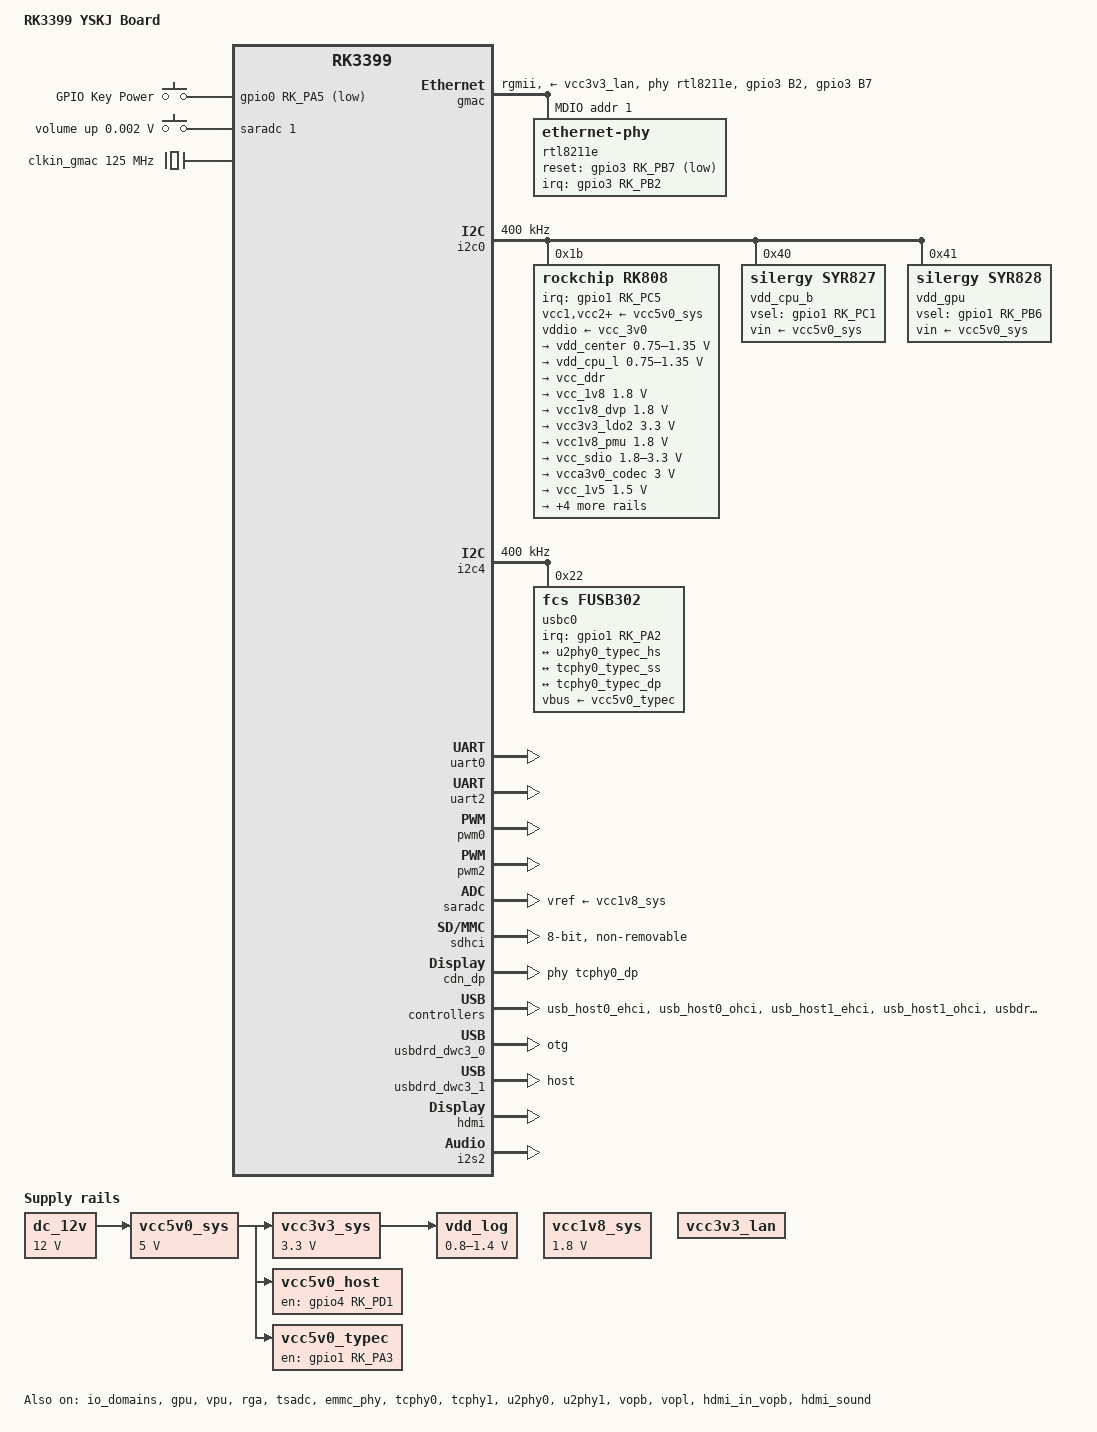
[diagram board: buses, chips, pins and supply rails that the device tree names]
// SPDX-License-Identifier: (GPL-2.0+ OR MIT)
/*
 * Copyright (C) 2025 kaixinos <kaixinos@outlook.com>
 */

/dts-v1/;
#include <dt-bindings/input/linux-event-codes.h>
#include <dt-bindings/leds/common.h>
#include <dt-bindings/pwm/pwm.h>
#include <dt-bindings/usb/pd.h>
#include "rk3399.dtsi"

/ {
	model = "RK3399 YSKJ Board";
	compatible = "rk3399,yskj", "rockchip,rk3399";

	aliases {
		ethernet0 = &gmac;
		mmc0 = &sdio0;
		mmc1 = &sdmmc;
		mmc2 = &sdhci;
	};

	chosen {
		stdout-path = "serial2:1500000n8";
	};

	dc_12v: dc-12v {
		compatible = "regulator-fixed";
		regulator-name = "dc_12v";
		regulator-always-on;
		regulator-boot-on;
		regulator-min-microvolt = <12000000>;
		regulator-max-microvolt = <12000000>;
	};

	vcc5v0_sys: vcc5v0-sys {
		compatible = "regulator-fixed";
		regulator-name = "vcc5v0_sys";
		regulator-always-on;
		regulator-boot-on;
		regulator-min-microvolt = <5000000>;
		regulator-max-microvolt = <5000000>;
		vin-supply = <&dc_12v>;
	};

	vcc3v3_sys: vcc3v3-sys {
		compatible = "regulator-fixed";
		regulator-name = "vcc3v3_sys";
		regulator-always-on;
		regulator-boot-on;
		regulator-min-microvolt = <3300000>;
		regulator-max-microvolt = <3300000>;
		vin-supply = <&vcc5v0_sys>;
	};

	vcc1v8_sys: vcc1v8-sys {
		compatible = "regulator-fixed";
		regulator-name = "vcc1v8_sys";
		regulator-always-on;
		regulator-boot-on;
		regulator-min-microvolt = <1800000>;
		regulator-max-microvolt = <1800000>;
	};

	vcc5v0_host: vcc5v0-host {
		compatible = "regulator-fixed";
		regulator-name = "vcc5v0_host";
		enable-active-high;
		gpio = <&gpio4 RK_PD1 GPIO_ACTIVE_HIGH>;
		pinctrl-names = "default";
		pinctrl-0 = <&vcc5v0_host_en>;
		regulator-always-on;
		vin-supply = <&vcc5v0_sys>;
	};

	vcc5v0_typec: vcc5v0-typec {
		compatible = "regulator-fixed";
		regulator-name = "vcc5v0_typec";
		enable-active-high;
		gpio = <&gpio1 RK_PA3 GPIO_ACTIVE_HIGH>;
		pinctrl-names = "default";
		pinctrl-0 = <&vcc5v0_typec_en>;
		vin-supply = <&vcc5v0_sys>;
	};

	vdd_log: vdd-log {
		compatible = "pwm-regulator";
		pwms = <&pwm2 0 25000 1>;
		regulator-name = "vdd_log";
		regulator-always-on;
		regulator-boot-on;
		regulator-min-microvolt = <800000>;
		regulator-max-microvolt = <1400000>;
		vin-supply = <&vcc3v3_sys>;
	};

	vcc3v3_lan: vcc3v3-lan {
		compatible = "regulator-fixed";
		regulator-name = "vcc3v3_lan";
		regulator-always-on;
		regulator-boot-on;
	};

	gpio-keys {
		compatible = "gpio-keys";
		autorepeat;
		pinctrl-names = "default";
		pinctrl-0 = <&power_key>;

		key-power {
			gpios = <&gpio0 RK_PA5 GPIO_ACTIVE_LOW>;
			label = "GPIO Key Power";
			linux,code = <KEY_POWER>;
			debounce-interval = <100>;
			wakeup-source;
		};
	};

	adc-keys {
		compatible = "adc-keys";
		io-channels = <&saradc 1>;
		io-channel-names = "buttons";
		keyup-threshold-microvolt = <1800000>;
		poll-interval = <100>;

		vol-up-key {
			label = "volume up";
			linux,code = <KEY_VOLUMEUP>;
			press-threshold-microvolt = <1750>;
		};
	};

	clkin_gmac: external-gmac-clock {
		compatible = "fixed-clock";
		clock-frequency = <125000000>;
		clock-output-names = "clkin_gmac";
		#clock-cells = <0>;
	};
};

&io_domains {
	status = "okay";

	bt656-supply = <&vcc1v8_dvp>;		/* APIO2_VDD */
	audio-supply = <&vcca1v8_codec>;	/* APIO5_VDD */
	sdmmc-supply = <&vcc_sdio>;		/* SDMMC0_VDD */
	gpio1830-supply = <&vcc_3v0>;		/* APIO4_VDD */
};

&pmu_io_domains {
	status = "okay";

	pmu1830-supply = <&vcc_3v0>;		/* PMUIO2_VDD */
};

&cpu_l0 {
	cpu-supply = <&vdd_cpu_l>;
};

&cpu_l1 {
	cpu-supply = <&vdd_cpu_l>;
};

&cpu_l2 {
	cpu-supply = <&vdd_cpu_l>;
};

&cpu_l3 {
	cpu-supply = <&vdd_cpu_l>;
};

&cpu_b0 {
	cpu-supply = <&vdd_cpu_b>;
};

&cpu_b1 {
	cpu-supply = <&vdd_cpu_b>;
};

&gpu {
	status = "okay";
	mali-supply = <&vdd_gpu>;
};

&vpu {
	status = "okay";
};

&rga {
	status = "okay";
};

&gmac {
	status = "okay";
	assigned-clock-parents = <&clkin_gmac>;
	assigned-clocks = <&cru SCLK_RMII_SRC>;
	clock_in_out = "input";
	phy-supply = <&vcc3v3_lan>;
	phy-mode = "rgmii";
	pinctrl-names = "default";
	pinctrl-0 = <&rgmii_pins>, <&phy_intb>, <&phy_rstb>;
	phy-handle = <&rtl8211e>;
	tx_delay = <0x35>;
	rx_delay = <0x29>;

	mdio {
		compatible = "snps,dwmac-mdio";
		#address-cells = <1>;
		#size-cells = <0>;

		rtl8211e: ethernet-phy@1 {
			reg = <1>;
			interrupt-parent = <&gpio3>;
			interrupts = <RK_PB2 IRQ_TYPE_LEVEL_LOW>;
			reset-assert-us = <10000>;
			reset-deassert-us = <30000>;
			reset-gpios = <&gpio3 RK_PB7 GPIO_ACTIVE_LOW>;
		};
	};
};

&i2c0 {
	status = "okay";
	clock-frequency = <400000>;
	i2c-scl-rising-time-ns = <168>;
	i2c-scl-falling-time-ns = <4>;

	rk808: pmic@1b {
		compatible = "rockchip,rk808";
		reg = <0x1b>;
		interrupt-parent = <&gpio1>;
		interrupts = <RK_PC5 IRQ_TYPE_LEVEL_LOW>;
		#clock-cells = <1>;
		clock-output-names = "xin32k", "rk808-clkout2";
		pinctrl-names = "default";
		pinctrl-0 = <&pmic_int_l &pmic_dvs2>;
		rockchip,system-power-controller;
		wakeup-source;

		vcc1-supply = <&vcc5v0_sys>;
		vcc2-supply = <&vcc5v0_sys>;
		vcc3-supply = <&vcc5v0_sys>;
		vcc4-supply = <&vcc5v0_sys>;
		vcc6-supply = <&vcc5v0_sys>;
		vcc7-supply = <&vcc5v0_sys>;
		vcc8-supply = <&vcc5v0_sys>;
		vcc9-supply = <&vcc5v0_sys>;
		vcc10-supply = <&vcc5v0_sys>;
		vcc11-supply = <&vcc5v0_sys>;
		vcc12-supply = <&vcc5v0_sys>;
		vddio-supply = <&vcc_3v0>;

		regulators {
			vdd_center: DCDC_REG1 {
				regulator-name = "vdd_center";
				regulator-always-on;
				regulator-boot-on;
				regulator-min-microvolt = <750000>;
				regulator-max-microvolt = <1350000>;
				regulator-ramp-delay = <6001>;

				regulator-state-mem {
					regulator-off-in-suspend;
				};
			};

			vdd_cpu_l: DCDC_REG2 {
				regulator-name = "vdd_cpu_l";
				regulator-always-on;
				regulator-boot-on;
				regulator-min-microvolt = <750000>;
				regulator-max-microvolt = <1350000>;
				regulator-ramp-delay = <6001>;

				regulator-state-mem {
					regulator-off-in-suspend;
				};
			};

			vcc_ddr: DCDC_REG3 {
				regulator-name = "vcc_ddr";
				regulator-always-on;
				regulator-boot-on;

				regulator-state-mem {
					regulator-on-in-suspend;
				};
			};

			vcc_1v8: DCDC_REG4 {
				regulator-name = "vcc_1v8";
				regulator-always-on;
				regulator-boot-on;
				regulator-min-microvolt = <1800000>;
				regulator-max-microvolt = <1800000>;

				regulator-state-mem {
					regulator-on-in-suspend;
					regulator-suspend-microvolt = <1800000>;
				};
			};

			vcc1v8_dvp: LDO_REG1 {
				regulator-name = "vcc1v8_dvp";
				regulator-always-on;
				regulator-boot-on;
				regulator-min-microvolt = <1800000>;
				regulator-max-microvolt = <1800000>;

				regulator-state-mem {
					regulator-off-in-suspend;
				};
			};

			vcc3v3_ldo2: LDO_REG2 {
				regulator-name = "vcc3v3_ldo2";
				regulator-always-on;
				regulator-boot-on;
				regulator-min-microvolt = <3300000>;
				regulator-max-microvolt = <3300000>;

				regulator-state-mem {
					regulator-off-in-suspend;
				};
			};

			vcc1v8_pmu: LDO_REG3 {
				regulator-name = "vcc1v8_pmu";
				regulator-always-on;
				regulator-boot-on;
				regulator-min-microvolt = <1800000>;
				regulator-max-microvolt = <1800000>;

				regulator-state-mem {
					regulator-on-in-suspend;
					regulator-suspend-microvolt = <1800000>;
				};
			};

			vcc_sdio: LDO_REG4 {
				regulator-name = "vcc_sdio";
				regulator-always-on;
				regulator-boot-on;
				regulator-min-microvolt = <1800000>;
				regulator-max-microvolt = <3300000>;

				regulator-state-mem {
					regulator-on-in-suspend;
					regulator-suspend-microvolt = <3000000>;
				};
			};

			vcca3v0_codec: LDO_REG5 {
				regulator-name = "vcca3v0_codec";
				regulator-always-on;
				regulator-boot-on;
				regulator-min-microvolt = <3000000>;
				regulator-max-microvolt = <3000000>;

				regulator-state-mem {
					regulator-off-in-suspend;
				};
			};

			vcc_1v5: LDO_REG6 {
				regulator-name = "vcc_1v5";
				regulator-always-on;
				regulator-boot-on;
				regulator-min-microvolt = <1500000>;
				regulator-max-microvolt = <1500000>;

				regulator-state-mem {
					regulator-on-in-suspend;
					regulator-suspend-microvolt = <1500000>;
				};
			};

			vcca1v8_codec: LDO_REG7 {
				regulator-name = "vcca1v8_codec";
				regulator-always-on;
				regulator-boot-on;
				regulator-min-microvolt = <1800000>;
				regulator-max-microvolt = <1800000>;

				regulator-state-mem {
					regulator-off-in-suspend;
				};
			};

			vcc_3v0: LDO_REG8 {
				regulator-name = "vcc_3v0";
				regulator-always-on;
				regulator-boot-on;
				regulator-min-microvolt = <3000000>;
				regulator-max-microvolt = <3000000>;

				regulator-state-mem {
					regulator-on-in-suspend;
					regulator-suspend-microvolt = <3000000>;
				};
			};

			vcc3v3_s3: SWITCH_REG1 {
				regulator-name = "vcc3v3_s3";
				regulator-always-on;
				regulator-boot-on;

				regulator-state-mem {
					regulator-off-in-suspend;
				};
			};

			vcc3v3_s0: SWITCH_REG2 {
				regulator-name = "vcc3v3_s0";
				regulator-always-on;
				regulator-boot-on;

				regulator-state-mem {
					regulator-off-in-suspend;
				};
			};
		};
	};

	vdd_cpu_b: regulator@40 {
		compatible = "silergy,syr827";
		reg = <0x40>;
		fcs,suspend-voltage-selector = <1>;
		regulator-compatible = "fan53555-reg";
		pinctrl-names = "default";
		pinctrl-0 = <&vsel1_pin>;
		vsel-gpios = <&gpio1 RK_PC1 GPIO_ACTIVE_HIGH>;
		regulator-name = "vdd_cpu_b";
		regulator-min-microvolt = <712500>;
		regulator-max-microvolt = <1500000>;
		regulator-ramp-delay = <1000>;
		regulator-always-on;
		regulator-boot-on;
		regulator-initial-state = <3>;
		vin-supply = <&vcc5v0_sys>;

		regulator-state-mem {
			regulator-off-in-suspend;
		};
	};

	vdd_gpu: regulator@41 {
		compatible = "silergy,syr828";
		reg = <0x41>;
		fcs,suspend-voltage-selector = <1>;
		regulator-compatible = "fan53555-reg";
		pinctrl-names = "default";
		pinctrl-0 = <&vsel2_pin>;
		vsel-gpios = <&gpio1 RK_PB6 GPIO_ACTIVE_HIGH>;
		regulator-name = "vdd_gpu";
		regulator-min-microvolt = <712500>;
		regulator-max-microvolt = <1500000>;
		regulator-ramp-delay = <1000>;
		regulator-always-on;
		regulator-boot-on;
		regulator-initial-state = <3>;
		vin-supply = <&vcc5v0_sys>;

		regulator-state-mem {
			regulator-off-in-suspend;
		};
	};
};

&i2c1 {
	status = "disabled";
};

&i2c3 {
	status = "disabled";
};

&i2c4 {
	status = "okay";
	i2c-scl-rising-time-ns = <600>;
	i2c-scl-falling-time-ns = <20>;
	clock-frequency = <400000>;

	usbc0: fusb302@22 {
		compatible = "fcs,fusb302";
		reg = <0x22>;
		interrupt-parent = <&gpio1>;
		interrupts = <RK_PA2 IRQ_TYPE_LEVEL_LOW>;
		pinctrl-names = "default";
		pinctrl-0 = <&usbc0_int>;
		vbus-supply = <&vcc5v0_typec>;

		connector {
			compatible = "usb-c-connector";
			label = "USB-C";
			op-sink-microwatt = <1000000>;
			power-role = "dual";
			data-role = "dual";
			sink-pdos =
				<PDO_FIXED(5000, 2500, PDO_FIXED_USB_COMM)>;
			source-pdos =
				<PDO_FIXED(5000, 1400, PDO_FIXED_USB_COMM)>;
			try-power-role = "sink";

			extcon-cables = <1 2 5 6 9 10 12 44>;
			typec-altmodes = <0xff01 1 0x001c0000 1>;

			ports {
				#address-cells = <1>;
				#size-cells = <0>;

				port@0 {
					reg = <0>;
					usb_con_hs: endpoint {
						remote-endpoint =
							<&u2phy0_typec_hs>;
					};
				};

				port@1 {
					reg = <1>;

					usb_con_ss: endpoint {
						remote-endpoint =
							<&tcphy0_typec_ss>;
					};
				};

				port@2 {
					reg = <2>;
					usb_con_sbu: endpoint {
						remote-endpoint =
							<&tcphy0_typec_dp>;
					};
				};
			};
		};
	};
};

&uart0 {
	status = "okay";
	pinctrl-names = "default";
	pinctrl-0 = <&uart0_xfer &uart0_cts>;
};

&uart2 {
	status = "okay";
};

&pwm0 {
	status = "okay";
};

&pwm2 {
	status = "okay";
	pinctrl-names = "active";
	pinctrl-0 = <&pwm2_pin_pull_down>;
};

&saradc {
	status = "okay";
	vref-supply = <&vcc1v8_sys>;
};

&tsadc {
	status = "okay";

	/* tshut mode 0:CRU 1:GPIO */
	rockchip,hw-tshut-mode = <1>;
	/* tshut polarity 0:LOW 1:HIGH */
	rockchip,hw-tshut-polarity = <1>;
};

&emmc_phy {
	status = "okay";
};

&sdhci {
	status = "okay";
	bus-width = <8>;
	mmc-hs400-1_8v;
	mmc-hs400-enhanced-strobe;
	non-removable;
};

&sdmmc {
	status = "disabled";
};

&sdio0 {
	status = "disabled";
};

&pcie_phy {
	status = "disabled";
};

&pcie0 {
	status = "disabled";
};

&cdn_dp {
	status = "okay";
	extcon = <&usbc0>;
	phys = <&tcphy0_dp>;
};

&tcphy0 {
	status = "okay";
	extcon = <&usbc0>;
};

&tcphy0_dp {
	port {
		tcphy0_typec_dp: endpoint {
			remote-endpoint = <&usb_con_sbu>;
		};
	};
};

&tcphy0_usb3 {
	port {
		tcphy0_typec_ss: endpoint {
			remote-endpoint = <&usb_con_ss>;
		};
	};
};

&tcphy1 {
	status = "okay";
};

&u2phy0 {
	status = "okay";
	extcon = <&usbc0>;

	u2phy0_otg: otg-port {
		status = "okay";
	};

	u2phy0_host: host-port {
		status = "okay";
		phy-supply = <&vcc5v0_host>;
	};

	port {
		u2phy0_typec_hs: endpoint {
			remote-endpoint = <&usb_con_hs>;
		};
	};
};

&u2phy1 {
	status = "okay";

	u2phy1_otg: otg-port {
		status = "okay";
	};

	u2phy1_host: host-port {
		status = "okay";
		phy-supply = <&vcc5v0_host>;
	};
};

&usb_host0_ehci {
	status = "okay";
};

&usb_host0_ohci {
	status = "okay";
};

&usb_host1_ehci {
	status = "okay";
};

&usb_host1_ohci {
	status = "okay";
};

&usbdrd3_0 {
	status = "okay";
};

&usbdrd_dwc3_0 {
	status = "okay";
	extcon = <&usbc0>;
	dr_mode = "otg";
};

&usbdrd3_1 {
	status = "okay";
};

&usbdrd_dwc3_1 {
	status = "okay";
	dr_mode = "host";
};

&vopb {
	status = "okay";
};

&vopb_mmu {
	status = "okay";
};

&vopl {
	status = "okay";
};

&vopl_mmu {
	status = "okay";
};

&hdmi {
	status = "okay";
	pinctrl-names = "default";
	pinctrl-0 = <&hdmi_i2c_xfer>, <&hdmi_cec>;
};

&hdmi_in_vopb {
	status = "okay";
};

&hdmi_in_vopl {
	status = "disabled";
};

&hdmi_sound {
	status = "okay";
};

&i2s0 {
	status = "disabled";
};

&i2s1 {
	status = "disabled";
};

&i2s2 {
	status = "okay";
};

&pinctrl {
	pmic {
		pmic_int_l: pmic-int-l {
			rockchip,pins =
				<1 RK_PC5 RK_FUNC_GPIO &pcfg_pull_up>;
		};

		pmic_dvs2: pmic-dvs2 {
			rockchip,pins =
				<1 RK_PC2 RK_FUNC_GPIO &pcfg_pull_down>;
		};

		vsel1_pin: vsel1-pin {
			rockchip,pins =
				<1 RK_PC1 RK_FUNC_GPIO &pcfg_pull_down>;
		};

		vsel2_pin: vsel2-pin {
			rockchip,pins =
				<1 RK_PB6 RK_FUNC_GPIO &pcfg_pull_down>;
		};
	};

	usb2 {
		vcc5v0_host_en: vcc5v0-host-en {
			rockchip,pins =
				<4 RK_PD1 RK_FUNC_GPIO &pcfg_pull_none>;
		};
	};

	usb-typec {
		vcc5v0_typec_en: vcc5v0-typec-en {
			rockchip,pins =
				<1 RK_PA3 RK_FUNC_GPIO &pcfg_pull_none>;
		};

		usbc0_int: usbc0-int {
			rockchip,pins =
				<1 RK_PA2 RK_FUNC_GPIO &pcfg_pull_up>;
		};
	};

	rockchip-key {
		power_key: power-key {
			rockchip,pins =
				<0 RK_PA5 RK_FUNC_GPIO &pcfg_pull_up>;
		};
	};

	gmac {
		phy_intb: phy-intb {
			rockchip,pins =
				<3 RK_PB2 RK_FUNC_GPIO &pcfg_pull_up>;
		};

		phy_rstb: phy-rstb {
			rockchip,pins =
				<3 RK_PB7 RK_FUNC_GPIO &pcfg_pull_none>;
		};
	};
};
